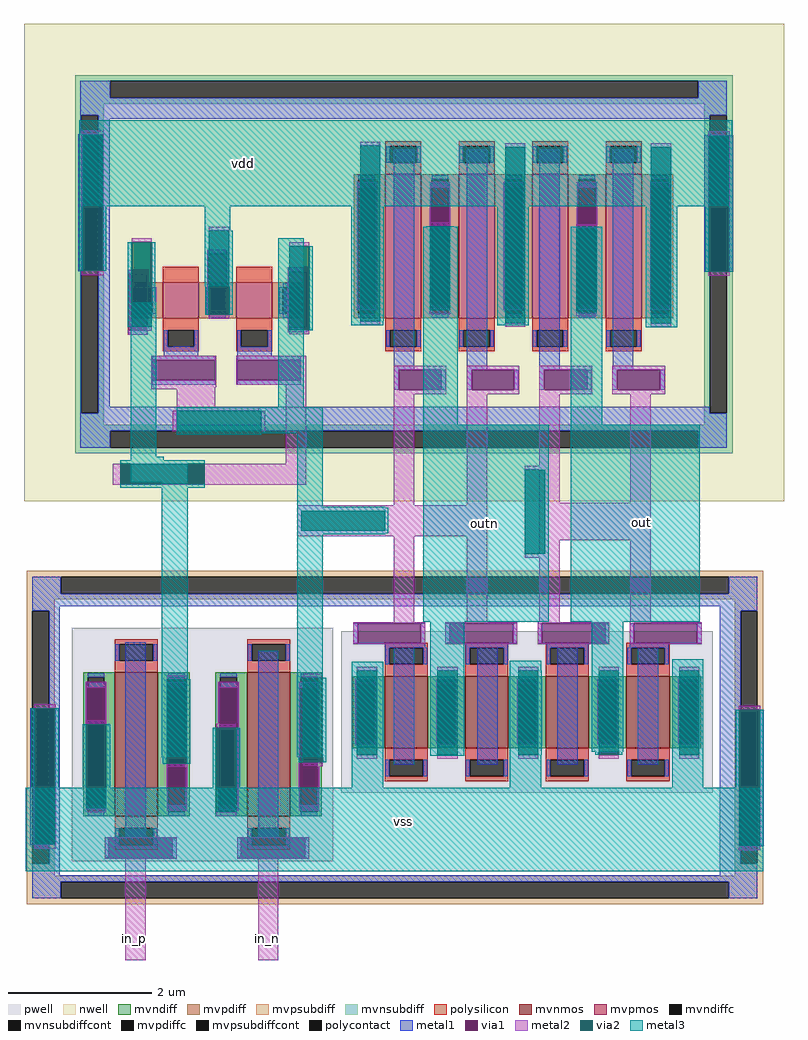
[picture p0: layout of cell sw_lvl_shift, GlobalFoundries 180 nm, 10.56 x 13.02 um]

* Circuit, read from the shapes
.subckt sw_lvl_shift in_n in_p vdd vss out outn
XM1 n1 in_p vss vss nfet_06v0 w=2u l=0.6u
XM2 n2 in_n vss vss nfet_06v0 w=2u l=0.6u
XM3 outn n2 vss vss nfet_06v0 w=1u l=0.6u m=2
XM4 out outn vss vss nfet_06v0 w=1u l=0.6u m=2
XM5 vdd n2 n1 vdd pfet_06v0 w=0.5u l=0.5u
XM6 n2 n1 vdd vdd pfet_06v0 w=0.5u l=0.5u
XM7 outn n2 vdd vdd pfet_06v0 w=2u l=0.5u m=2
XM8 out outn vdd vdd pfet_06v0 w=2u l=0.5u m=2
.ends

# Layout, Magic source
magic
tech gf180mcuD
magscale 1 10
<< nwell >>
rect -1302 1650 810 2977
<< mvpsubdiff >>
rect -1295 1440 753 1456
rect -1295 1393 -1200 1440
rect 657 1393 753 1440
rect -1295 1377 753 1393
rect -1295 1345 -1216 1377
rect -1295 643 -1279 1345
rect -1232 643 -1216 1345
rect -1295 609 -1216 643
rect 673 1345 753 1377
rect 673 643 690 1345
rect 736 643 753 1345
rect 673 609 753 643
rect -1295 593 753 609
rect -1295 546 -1200 593
rect 657 546 753 593
rect -1295 530 753 546
<< mvnsubdiff >>
rect -1159 2818 667 2834
rect -1159 2771 -1063 2818
rect 572 2771 667 2818
rect -1159 2755 667 2771
rect -1159 2722 -1080 2755
rect -1159 1895 -1143 2722
rect -1096 1895 -1080 2722
rect -1159 1862 -1080 1895
rect 588 2722 667 2755
rect 588 1895 604 2722
rect 651 1895 667 2722
rect 588 1862 667 1895
rect -1159 1846 667 1862
rect -1159 1799 -1063 1846
rect 572 1799 667 1846
rect -1159 1783 667 1799
<< mvpsubdiffcont >>
rect -1200 1393 657 1440
rect -1279 643 -1232 1345
rect 690 643 736 1345
rect -1200 546 657 593
<< mvnsubdiffcont >>
rect -1063 2771 572 2818
rect -1143 1895 -1096 2722
rect 604 1895 651 2722
rect -1063 1799 572 1846
<< metal1 >>
rect -1145 2771 -1063 2818
rect 572 2771 651 2818
rect -1145 2722 651 2771
rect -1145 1895 -1143 2722
rect -1096 2713 604 2722
rect -1096 1913 -1064 2713
rect -999 2171 -934 2245
rect -796 2171 -731 2245
rect -592 2171 -527 2245
rect -888 2079 -842 2080
rect -914 2054 -818 2079
rect -710 2054 -614 2079
rect -946 2042 -770 2054
rect -946 1974 -770 1986
rect -710 2042 -533 2054
rect -710 1974 -533 1986
rect -275 2015 -218 2626
rect -72 2015 -15 2626
rect 130 2015 187 2626
rect 334 2015 391 2626
rect -275 1959 -261 2015
rect -142 1959 -130 2015
rect -72 1959 -58 2015
rect 60 1959 72 2015
rect 130 1959 144 2015
rect 263 1959 275 2015
rect 333 1959 347 2015
rect 466 1959 478 2015
rect -1096 1895 604 1913
rect -1145 1846 651 1895
rect -1145 1799 -1063 1846
rect 572 1799 651 1846
rect -1279 1393 -1200 1440
rect 657 1393 736 1440
rect -1279 1358 736 1393
rect -1279 1345 -1202 1358
rect -1232 643 -1202 1345
rect 632 1345 736 1358
rect -1021 714 -964 1258
rect -387 1255 -375 1311
rect -199 1255 -187 1311
rect -131 1255 -119 1311
rect 57 1255 69 1311
rect 125 1255 137 1311
rect 313 1255 325 1311
rect 381 1255 393 1311
rect 569 1255 581 1311
rect -298 1243 -187 1255
rect -74 1243 42 1255
rect 150 1243 266 1255
rect 381 1253 540 1255
rect 381 1243 490 1253
rect -651 719 -595 1234
rect -275 917 -218 1243
rect -42 917 15 1243
rect 180 917 237 1243
rect 403 917 460 1243
rect -653 714 -595 719
rect -1078 658 -1066 714
rect -890 658 -878 714
rect -710 658 -698 714
rect -522 658 -510 714
rect -1279 611 -1202 643
rect 632 643 690 1345
rect 632 611 736 643
rect -1279 593 736 611
rect -1279 546 -1200 593
rect 657 546 736 593
<< via1 >>
rect -946 1986 -770 2042
rect -710 1986 -533 2042
rect -261 1959 -142 2015
rect -58 1959 60 2015
rect 144 1959 263 2015
rect 347 1959 466 2015
rect -375 1255 -199 1311
rect -119 1255 57 1311
rect 137 1255 313 1311
rect 393 1255 569 1311
rect -1066 658 -890 714
rect -698 658 -522 714
<< metal2 >>
rect -949 2042 -768 2054
rect -949 1986 -946 2042
rect -770 1986 -768 2042
rect -949 1967 -768 1986
rect -712 2042 -518 2054
rect -712 1986 -710 2042
rect -533 1986 -518 2042
rect -712 1974 -518 1986
rect -949 1961 -770 1967
rect -877 1911 -770 1961
rect -877 1901 -650 1911
rect -575 1754 -518 1974
rect -1056 1696 -518 1754
rect -275 2015 -128 2027
rect -275 1959 -261 2015
rect -142 1959 -128 2015
rect -275 1947 -128 1959
rect -72 2015 74 2027
rect -72 1959 -58 2015
rect 60 1959 74 2015
rect -72 1947 74 1959
rect 130 2015 277 2027
rect 130 1959 144 2015
rect 263 1959 277 2015
rect 130 1947 277 1959
rect 333 2015 480 2027
rect 333 1959 347 2015
rect 466 1959 480 2015
rect 333 1947 480 1959
rect -275 1639 -218 1947
rect -72 1639 -15 1947
rect -542 1552 -15 1639
rect -275 1313 -218 1552
rect -72 1313 -15 1552
rect 130 1646 187 1947
rect 383 1646 440 1947
rect 130 1542 440 1646
rect 130 1313 187 1542
rect 383 1313 440 1542
rect -387 1311 -187 1313
rect -387 1255 -375 1311
rect -199 1255 -187 1311
rect -387 1253 -187 1255
rect -131 1311 69 1313
rect -131 1255 -119 1311
rect 57 1255 69 1311
rect -131 1253 69 1255
rect 125 1311 325 1313
rect 125 1255 137 1311
rect 313 1255 325 1311
rect 125 1253 325 1255
rect 381 1311 581 1313
rect 381 1255 393 1311
rect 569 1255 581 1311
rect 381 1253 581 1255
rect -1078 714 -878 716
rect -1078 658 -1066 714
rect -890 658 -878 714
rect -1078 656 -878 658
rect -710 714 -510 716
rect -710 658 -698 714
rect -522 658 -510 714
rect -710 656 -510 658
rect -1021 374 -964 656
rect -653 652 -595 656
rect -651 374 -595 652
<< metal3 >>
rect -1149 2470 666 2708
rect -800 2247 -729 2470
rect -1006 1774 -934 2203
rect -596 1911 -525 2381
rect -392 2139 -304 2470
rect -878 1839 -472 1911
rect -1006 1754 -914 1774
rect -1006 1703 -847 1754
rect -919 939 -847 1703
rect -543 1632 -472 1839
rect -193 1862 -96 2413
rect 13 2139 101 2470
rect 218 1862 305 2413
rect 426 2134 514 2470
rect -543 1561 -290 1632
rect -543 939 -472 1561
rect -193 1315 156 1862
rect 218 1315 576 1862
rect -391 854 -303 1204
rect -173 943 -79 1315
rect 48 854 136 1206
rect 276 953 363 1315
rect 499 854 586 1211
rect -1297 621 753 854
use asw_via1_2cut  asw_via1_2cut_0 paramcells
transform 0 1 -2725 -1 0 13586
box 12431 3240 12611 3296
use asw_via1_2cut  asw_via1_2cut_1
transform 0 1 -2949 -1 0 13586
box 12431 3240 12611 3296
use asw_via1_2cut  asw_via1_2cut_2
transform 0 1 -3173 -1 0 13586
box 12431 3240 12611 3296
use asw_via1_2cut  asw_via1_2cut_3
transform 0 1 -3397 -1 0 13586
box 12431 3240 12611 3296
use asw_via1_2cut  asw_via1_2cut_4
transform 0 1 -3621 -1 0 13586
box 12431 3240 12611 3296
use asw_via1_2cut  asw_via1_2cut_5
transform 0 1 -3809 -1 0 14731
box 12431 3240 12611 3296
use asw_via1_2cut  asw_via1_2cut_6
transform 0 1 -4254 -1 0 14724
box 12431 3240 12611 3296
use asw_via1_2cut  asw_via1_2cut_7
transform 0 1 -4033 -1 0 14780
box 12431 3240 12611 3296
use asw_via1_3cut  asw_via1_3cut_0 paramcells
transform 0 1 -3587 -1 0 17319
box 14781 3209 15139 3266
use asw_via1_3cut  asw_via1_3cut_1
transform 0 1 -3383 -1 0 17319
box 14781 3209 15139 3266
use asw_via1_3cut  asw_via1_3cut_2
transform 0 1 -3179 -1 0 17319
box 14781 3209 15139 3266
use asw_via1_3cut  asw_via1_3cut_3
transform 0 1 -2975 -1 0 17319
box 14781 3209 15139 3266
use asw_via1_3cut  asw_via1_3cut_4
transform 0 1 -2771 -1 0 17319
box 14781 3209 15139 3266
use asw_via1_3cut  asw_via1_3cut_5
transform 0 1 -3748 1 0 -13991
box 14781 3209 15139 3266
use asw_via1_3cut  asw_via1_3cut_6
transform 0 1 -3971 1 0 -13991
box 14781 3209 15139 3266
use asw_via1_3cut  asw_via1_3cut_7
transform 0 1 -4115 1 0 -13991
box 14781 3209 15139 3266
use asw_via1_3cut  asw_via1_3cut_8
transform 0 1 -4339 1 0 -13991
box 14781 3209 15139 3266
use nfet_05v0_C5JAWQ  nfet_05v0_C5JAWQ_0 paramcells
transform 1 0 -806 0 1 974
box -364 -324 364 324
use nfet_05v0_Q93XV3  nfet_05v0_Q93XV3_0 paramcells
transform 1 0 96 0 1 1064
box -516 -224 516 224
use pfet_05v0_GAMEYB  pfet_05v0_GAMEYB_0 paramcells
transform 1 0 58 0 1 2358
box -530 -378 530 378
use pfet_05v0_KB9L9L  pfet_05v0_KB9L9L_0 paramcells
transform 1 0 -764 0 1 2184
box -326 -204 326 204
use via_QP3U7V  via_QP3U7V_0 paramcells
transform 1 0 -1116 0 1 2479
box -35 -201 45 201
use via_QP3U7V  via_QP3U7V_1
transform 1 0 -1249 0 1 885
box -35 -201 45 201
use via_QP3U7V  via_QP3U7V_2
transform 1 0 624 0 1 2477
box -35 -201 45 201
use via_QP3U7V  via_QP3U7V_3
transform 1 0 709 0 1 881
box -35 -201 45 201
use via_Y6Z86N  via_Y6Z86N_3 paramcells
transform 1 0 58 0 -1 2389
box -33 -255 43 254
use via_Y6Z86N  via_Y6Z86N_41
transform 1 0 -345 0 -1 2394
box -33 -255 43 254
use via_Y6Z86N  via_Y6Z86N_43
transform 1 0 463 0 -1 2389
box -33 -255 43 254
use via_Y6ZD6N  via_Y6ZD6N_0 paramcells
transform 1 0 -1106 0 1 913
box -33 -128 43 128
use via_Y6ZD6N  via_Y6ZD6N_1
transform 1 0 -745 0 1 904
box -33 -128 43 128
use via_Y6ZD6N  via_Y6ZD6N_2
transform 1 0 256 0 1 2292
box -33 -128 43 128
use via_Y6ZD6N  via_Y6ZD6N_3
transform 1 0 -883 0 1 1038
box -33 -128 43 128
use via_Y6ZD6N  via_Y6ZD6N_4
transform 1 0 -505 0 1 1042
box -33 -128 43 128
use via_Y6ZD6N  via_Y6ZD6N_5
transform 0 1 -917 -1 0 1731
box -33 -128 43 128
use via_Y6ZD6N  via_Y6ZD6N_6
transform 0 1 -760 -1 0 1878
box -33 -128 43 128
use via_Y6ZD6N  via_Y6ZD6N_7
transform 0 1 -415 -1 0 1601
box -33 -128 43 128
use via_Y6ZD6N  via_Y6ZD6N_8
transform -1 0 123 0 -1 1621
box -33 -128 43 128
use via_Y6ZD6N  via_Y6ZD6N_9
transform 1 0 -151 0 1 2297
box -33 -128 43 128
use via_Y6ZD6N  via_Y6ZD6N_10
transform -1 0 -532 0 -1 2242
box -33 -128 43 128
use via_Y6ZD6N  via_Y6ZD6N_11
transform -1 0 -970 0 -1 2252
box -33 -128 43 128
use via_Y6ZD6N  via_Y6ZD6N_12
transform -1 0 -755 0 -1 2285
box -33 -128 43 128
use via_Y6ZD6N  via_Y6ZD6N_13
transform 1 0 -354 0 1 1062
box -33 -128 43 128
use via_Y6ZD6N  via_Y6ZD6N_14
transform 1 0 -130 0 1 1062
box -33 -128 43 128
use via_Y6ZD6N  via_Y6ZD6N_15
transform 1 0 94 0 1 1062
box -33 -128 43 128
use via_Y6ZD6N  via_Y6ZD6N_16
transform 1 0 318 0 1 1062
box -33 -128 43 128
use via_Y6ZD6N  via_Y6ZD6N_17
transform 1 0 542 0 1 1062
box -33 -128 43 128
<< labels >>
flabel metal3 -177 1513 133 1663 0 FreeSans 1846 90 0 0 outn
port 5 nsew
flabel metal3 260 1518 567 1666 0 FreeSans 1846 90 0 0 out
port 4 nsew
flabel metal2 -651 374 -601 494 0 FreeSans 369 90 0 0 in_n
port 0 nsew
flabel metal2 -1021 374 -970 494 0 FreeSans 369 90 0 0 in_p
port 1 nsew
flabel metal3 -1006 2475 -378 2701 0 FreeSans 1846 0 0 0 vdd
port 2 nsew
flabel metal3 -426 695 -69 824 0 FreeSans 1846 0 0 0 vss
port 3 nsew
<< properties >>
string MASKHINTS_THKOX -2081 -336 17923 5183
<< end >>

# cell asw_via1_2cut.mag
magic
tech gf180mcuD
magscale 1 10
<< metal1 >>
rect 12431 3242 12443 3294
rect 12599 3242 12611 3294
<< via1 >>
rect 12443 3242 12599 3294
<< metal2 >>
rect 12431 3294 12611 3296
rect 12431 3242 12443 3294
rect 12599 3242 12611 3294
rect 12431 3240 12611 3242
<< end >>

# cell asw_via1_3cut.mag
magic
tech gf180mcuD
magscale 1 10
<< metal1 >>
rect 14784 3211 14796 3263
rect 15123 3211 15136 3263
<< via1 >>
rect 14796 3211 15123 3263
<< metal2 >>
rect 14781 3263 15139 3266
rect 14781 3211 14796 3263
rect 15123 3211 15139 3263
rect 14781 3209 15139 3211
<< end >>

# cell nfet_05v0_C5JAWQ: kit device nfet_05v0, w 2.0 l 0.6 m 1 nf 2 diffcov 100 polycov 100 guard 0 glc 0 grc 0 gtc 0 gbc 0 tbcov 100 rlcov 100 topc 1 botc 1 poverlap 0 doverlap 0 lmin 0.6 wmin 0.3 lmax 0.695 class mosfet full_metal 0 compatible {nfet_03v3 nfet_05v0 nfet_06v0 nfet_06v0_nvt}

# cell nfet_05v0_Q93XV3: kit device nfet_05v0, w 1.0 l 0.6 m 1 nf 4 diffcov 100 polycov 100 guard 0 glc 0 grc 0 gtc 0 gbc 0 tbcov 100 rlcov 100 topc 1 botc 1 poverlap 0 doverlap 1 lmin 0.6 wmin 0.3 lmax 0.695 class mosfet full_metal 0 compatible {nfet_03v3 nfet_05v0 nfet_06v0 nfet_06v0_nvt}

# cell pfet_05v0_GAMEYB: kit device pfet_05v0, w 2.0 l 0.5 m 1 nf 4 diffcov 100 polycov 100 guard 0 glc 0 grc 0 gtc 0 gbc 0 tbcov 100 rlcov 100 topc 1 botc 1 poverlap 0 doverlap 1 lmin 0.5 wmin 0.3 lmax 0.545 class mosfet full_metal 0 compatible {pfet_03v3 pfet_05v0 pfet_06v0}

# cell pfet_05v0_KB9L9L: kit device pfet_05v0, w 0.5 l 0.5 m 1 nf 2 diffcov 100 polycov 100 guard 0 glc 0 grc 0 gtc 0 gbc 0 tbcov 100 rlcov 100 topc 0 botc 1 poverlap 0 doverlap 1 lmin 0.5 wmin 0.3 lmax 0.545 class mosfet full_metal 0 compatible {pfet_03v3 pfet_05v0 pfet_06v0}

# cell via_QP3U7V: kit device via, metalbot metal1 metaltop metal3 nxcuts 1 nycuts 4 orient default pattern none

# cell via_Y6Z86N: kit device via, metalbot metal2 metaltop metal3 nxcuts 1 nycuts 5 orient default pattern none

# cell via_Y6ZD6N: kit device via, metalbot metal2 metaltop metal3 nxcuts 1 nycuts 3 orient default pattern none
